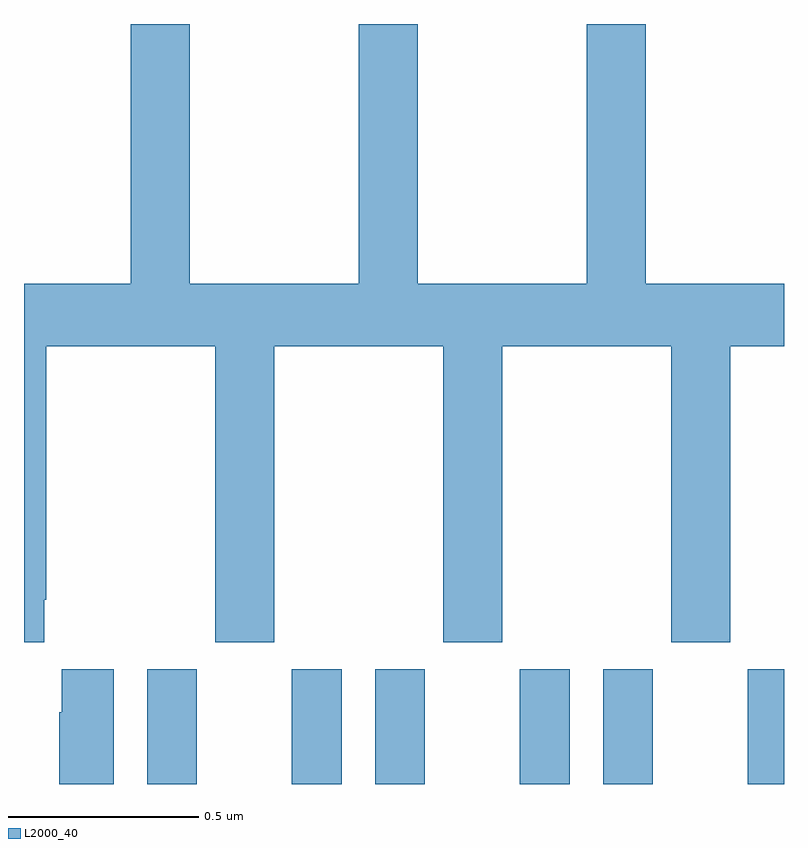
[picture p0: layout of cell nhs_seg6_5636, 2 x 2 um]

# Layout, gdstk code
import gdstk
lib = gdstk.Library(unit=1e-6, precision=1e-09)
def R(c, l, rs):  # rectangles x0, y0, x1, y1
    for r in rs: c.add(gdstk.rectangle(r[:2], r[2:], *l))
def P(c, l, *ps):  # polygons
    for p in ps: c.add(gdstk.Polygon(p, *l))
L2000_40 = (2000, 40)

nhs_seg6_5636 = lib.new_cell('nhs_seg6_5636')
R(nhs_seg6_5636, L2000_40, [(185.324,963.5,185.455,963.802), (185.705,963.5,185.836,963.802), (185.924,963.5,186.055,963.802), (186.305,963.5,186.436,963.802), (186.524,963.5,186.655,963.802), (186.905,963.5,187,963.802)])
P(nhs_seg6_5636, L2000_40, [(185.053,963.985),(185.058,963.985),(185.058,964.652),(185.503,964.652),(185.503,963.873),(185.658,963.873),(185.658,964.652),(186.103,964.652),(186.103,963.873),(186.258,963.873),(186.258,964.652),(186.703,964.652),(186.703,963.873),(186.858,963.873),(186.858,964.652),(187,964.652),(187,964.816),(186.636,964.816),(186.636,965.5),(186.481,965.5),(186.481,964.816),(186.036,964.816),(186.036,965.5),(185.881,965.5),(185.881,964.816),(185.436,964.816),(185.436,965.5),(185.281,965.5),(185.281,964.816),(185,964.816),(185,963.873),(185.053,963.873)],
  [(185.236,963.802),(185.099,963.802),(185.099,963.689),(185.093,963.689),(185.093,963.5),(185.236,963.5)])

lib.write_gds('nhs_seg6_5636.gds')
